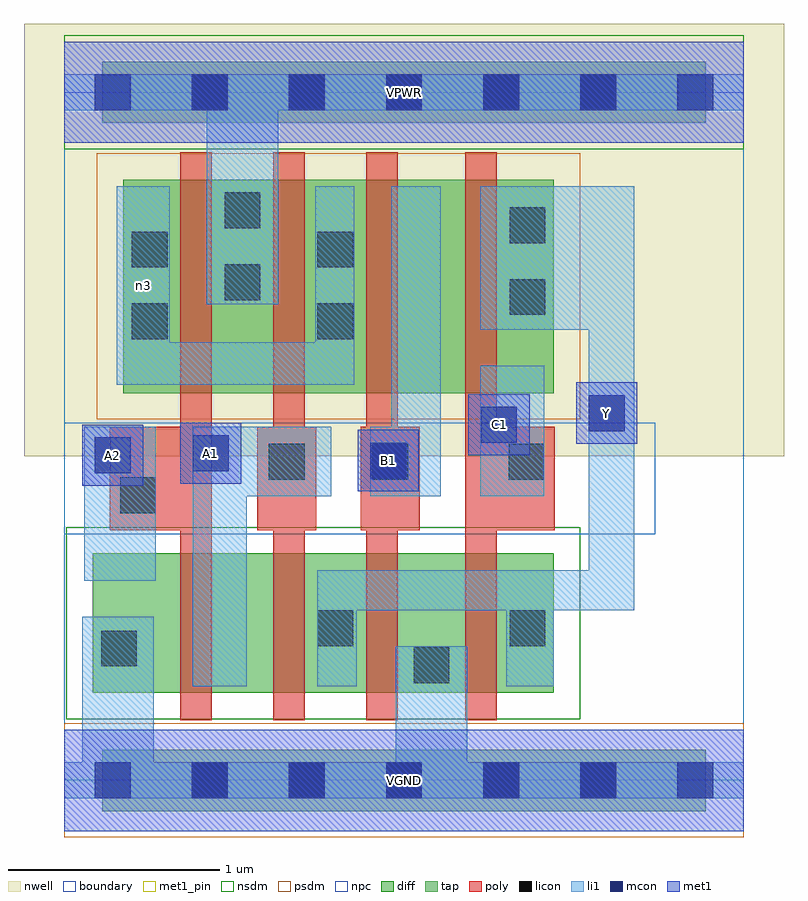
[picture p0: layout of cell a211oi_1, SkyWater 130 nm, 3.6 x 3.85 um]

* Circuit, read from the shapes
.subckt a211oi_1 A1 A2 B1 C1 VGND VPWR Y n3
XM1 n1 A2 VGND VGND sky130_fd_pr__nfet_01v8 w=0.66 l=0.15
XM2 Y A1 n1 VGND sky130_fd_pr__nfet_01v8 w=0.66 l=0.15
XM3 VGND B1 Y VGND sky130_fd_pr__nfet_01v8 w=0.66 l=0.15
XM4 Y C1 VGND VGND sky130_fd_pr__nfet_01v8 w=0.66 l=0.15
XM5 VPWR A2 n3 VPWR sky130_fd_pr__pfet_01v8 w=1.01 l=0.15
XM6 n3 A1 VPWR VPWR sky130_fd_pr__pfet_01v8 w=1.01 l=0.15
XM7 n2 B1 n3 VPWR sky130_fd_pr__pfet_01v8 w=1.01 l=0.15
XM8 Y C1 n2 VPWR sky130_fd_pr__pfet_01v8 w=1.01 l=0.15
.ends

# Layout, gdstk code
import gdstk
lib = gdstk.Library(unit=1e-6, precision=1e-09)
def R(c, l, rs):  # rectangles x0, y0, x1, y1
    for r in rs: c.add(gdstk.rectangle(r[:2], r[2:], *l))
def A(c, l, x, y, w, h, nx, ny, dx, dy):  # array of equal rectangles
    R(c, l, [(x+i*dx, y+j*dy, x+i*dx+w, y+j*dy+h) for i in range(nx) for j in range(ny)])
nwell = (64, 20)
diff = (65, 20)
tap = (65, 44)
poly = (66, 20)
licon = (66, 44)
li1 = (67, 20)
mcon = (67, 44)
met1_pin = (68, 16)
met1 = (68, 20)
nsdm = (93, 44)
psdm = (94, 20)
npc = (95, 20)
boundary = (235, 4)

a211oi_1 = lib.new_cell('a211oi_1')
R(a211oi_1, nwell, [(-0.19,1.535,3.41,3.585), (0,1.535,3.22,3.585)])
R(a211oi_1, diff, [(0.135,0.415,2.32,1.075), (0.28,1.835,2.32,2.845)])
R(a211oi_1, tap, [(0.18,-0.145,3.04,0.145), (0.18,3.115,3.04,3.405)])
A(a211oi_1, poly, 0.55, 0.285, 0.15, 2.69, 3, 1, 0.44, 0)
R(a211oi_1, poly, [(1.9,0.285,2.05,2.975), (0.215,1.185,0.7,1.675), (0.915,1.185,1.195,1.675), (1.405,1.185,1.685,1.675), (1.9,1.185,2.325,1.675)])
A(a211oi_1, licon, 0.605, -0.085, 0.17, 0.17, 5, 2, 0.46, 3.26)
R(a211oi_1, licon, [(1.655,0.46,1.825,0.63), (0.175,0.54,0.345,0.71), (1.2,0.635,1.37,0.805), (2.11,0.635,2.28,0.805), (0.265,1.265,0.435,1.435), (0.97,1.425,1.14,1.595), (1.46,1.425,1.63,1.595), (2.105,1.425,2.275,1.595), (0.32,2.09,0.49,2.26), (1.2,2.09,1.37,2.26), (2.11,2.205,2.28,2.375), (0.76,2.275,0.93,2.445), (0.32,2.43,0.49,2.6), (1.2,2.43,1.37,2.6), (2.11,2.545,2.28,2.715), (0.76,2.615,0.93,2.785)])
R(a211oi_1, li1, [(0,-0.085,3.22,0.085), (0.085,-0.085,0.425,0.775), (1.57,-0.085,1.91,0.635), (0.61,0.445,0.865,1.675), (1.2,0.445,1.385,0.995), (2.095,0.445,2.32,0.995), (1.2,0.805,2.7,0.995), (2.485,0.805,2.7,2.815), (0.095,0.945,0.435,1.675), (0.61,1.345,1.265,1.675), (1.45,1.345,1.785,1.675), (1.55,1.345,1.785,2.815), (1.97,1.345,2.275,1.965), (0.25,1.875,0.5,2.815), (0.25,1.875,1.375,2.075), (1.19,1.875,1.375,2.815), (1.97,2.135,2.7,2.815), (0.675,2.255,1.015,3.345), (0,3.175,3.22,3.345)])
A(a211oi_1, mcon, 0.145, -0.085, 0.17, 0.17, 7, 2, 0.46, 3.26)
R(a211oi_1, mcon, [(1.45,1.43,1.62,1.6), (0.145,1.455,0.315,1.625), (0.61,1.465,0.78,1.635), (1.975,1.6,2.145,1.77), (2.485,1.655,2.655,1.825)])
R(a211oi_1, met1_pin, [(0,-0.24,3.22,0.24), (1.39,1.37,1.68,1.66), (0.085,1.395,0.375,1.685), (0.55,1.405,0.84,1.695), (1.915,1.54,2.205,1.83), (2.425,1.595,2.715,1.885), (0,3.02,3.22,3.5)])
R(a211oi_1, met1, [(0,-0.24,3.22,0.24), (1.39,1.37,1.68,1.66), (0.085,1.395,0.375,1.685), (0.55,1.405,0.84,1.695), (1.915,1.54,2.205,1.83), (2.425,1.595,2.715,1.885), (0,3.02,3.22,3.5)])
R(a211oi_1, nsdm, [(0.01,0.29,2.445,1.2), (0,2.99,3.22,3.53)])
R(a211oi_1, psdm, [(0,-0.27,3.22,0.27), (0.155,1.71,2.445,2.97)])
R(a211oi_1, npc, [(0,1.165,2.8,1.695)])
R(a211oi_1, boundary, [(0,0,3.22,3.26)])
a211oi_1.add(gdstk.Label('n3', (0.375,2.345), layer=67, texttype=5))
a211oi_1.add(gdstk.Label('A1', (0.695,1.55), layer=68, texttype=5))
a211oi_1.add(gdstk.Label('A2', (0.23,1.54), layer=68, texttype=5))
a211oi_1.add(gdstk.Label('B1', (1.535,1.515), layer=68, texttype=5))
a211oi_1.add(gdstk.Label('C1', (2.06,1.685), layer=68, texttype=5))
a211oi_1.add(gdstk.Label('Y', (2.57,1.74), layer=68, texttype=5))
a211oi_1.add(gdstk.Label('VPWR', (1.61,3.26), layer=68, texttype=5))
a211oi_1.add(gdstk.Label('VGND', (1.61,0), layer=68, texttype=5))
a211oi_1.add(gdstk.Label('A1', (0.695,1.55), layer=68, texttype=16))
a211oi_1.add(gdstk.Label('A2', (0.23,1.54), layer=68, texttype=16))
a211oi_1.add(gdstk.Label('B1', (1.535,1.515), layer=68, texttype=16))
a211oi_1.add(gdstk.Label('C1', (2.06,1.685), layer=68, texttype=16))
a211oi_1.add(gdstk.Label('Y', (2.57,1.74), layer=68, texttype=16))
a211oi_1.add(gdstk.Label('VPWR', (1.61,3.26), layer=68, texttype=16))
a211oi_1.add(gdstk.Label('VGND', (1.61,0), layer=68, texttype=16))

lib.write_gds('a211oi_1.gds')
